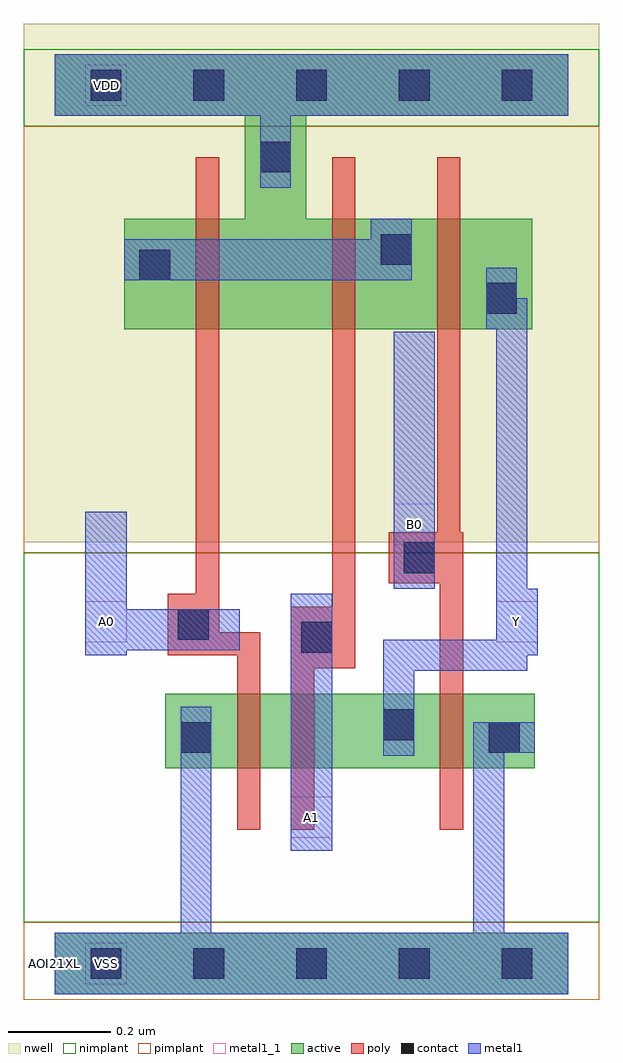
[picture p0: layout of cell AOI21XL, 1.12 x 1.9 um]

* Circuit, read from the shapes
.subckt AOI21XL A0 A1 B0 VDD VSS Y
M1 n1 A0 VSS VSS nfet w=0.145u l=0.045u
M2 Y A1 n1 VSS nfet w=0.145u l=0.045u
M3 VSS B0 Y VSS nfet w=0.145u l=0.045u
M4 VDD A0 n2 VDD pfet w=0.215u l=0.045u
M5 n2 A1 VDD VDD pfet w=0.215u l=0.045u
M6 Y B0 n2 VDD pfet w=0.215u l=0.045u
.ends

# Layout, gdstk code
import gdstk
lib = gdstk.Library(unit=1e-6, precision=5e-10)
def R(c, l, rs):  # rectangles x0, y0, x1, y1
    for r in rs: c.add(gdstk.rectangle(r[:2], r[2:], *l))
def A(c, l, x, y, w, h, nx, ny, dx, dy):  # array of equal rectangles
    R(c, l, [(x+i*dx, y+j*dy, x+i*dx+w, y+j*dy+h) for i in range(nx) for j in range(ny)])
def P(c, l, *ps):  # polygons
    for p in ps: c.add(gdstk.Polygon(p, *l))
active = (1, 0)
nwell = (2, 0)
poly = (3, 0)
nimplant = (4, 0)
pimplant = (5, 0)
contact = (6, 0)
metal1 = (7, 0)
metal1_1 = (7, 1)

aoi21xl = lib.new_cell('AOI21XL')
R(aoi21xl, active, [(0,-0.06,1,0.06), (0.215,0.38,0.935,0.525)])
P(aoi21xl, active, [(0,1.77),(1,1.77),(1,1.65),(0.49,1.65),(0.49,1.45),(0.93,1.45),(0.93,1.235),(0.135,1.235),(0.135,1.45),(0.37,1.45),(0.37,1.65),(0,1.65)])
R(aoi21xl, nwell, [(-0.06,0.82,1.06,1.83)])
P(aoi21xl, poly, [(0.275,1.57),(0.32,1.57),(0.32,0.645),(0.4,0.645),(0.4,0.26),(0.355,0.26),(0.355,0.6),(0.22,0.6),(0.22,0.72),(0.275,0.72)],
  [(0.54,1.57),(0.585,1.57),(0.585,0.575),(0.505,0.575),(0.505,0.26),(0.46,0.26),(0.46,0.695),(0.54,0.695)],
  [(0.745,1.57),(0.79,1.57),(0.79,0.84),(0.795,0.84),(0.795,0.26),(0.75,0.26),(0.75,0.74),(0.65,0.74),(0.65,0.84),(0.745,0.84)])
R(aoi21xl, nimplant, [(-0.06,0.08,1.06,0.8), (-0.06,1.63,1.06,1.78)])
R(aoi21xl, pimplant, [(-0.06,-0.07,1.06,0.08), (-0.06,0.8,1.06,1.63)])
A(aoi21xl, contact, 0.07, -0.03, 0.06, 0.06, 5, 2, 0.2, 1.71)
R(aoi21xl, contact, [(0.245,0.41,0.305,0.47), (0.845,0.41,0.905,0.47), (0.64,0.435,0.7,0.495), (0.48,0.605,0.54,0.665), (0.24,0.63,0.3,0.69), (0.68,0.76,0.74,0.82), (0.84,1.265,0.9,1.325), (0.165,1.33,0.225,1.39), (0.635,1.36,0.695,1.42), (0.4,1.54,0.46,1.6)])
R(aoi21xl, metal1, [(0.46,0.22,0.54,0.72), (0.66,0.73,0.74,1.23)])
P(aoi21xl, metal1, [(0,1.77),(1,1.77),(1,1.65),(0.46,1.65),(0.46,1.51),(0.4,1.51),(0.4,1.65),(0,1.65)],
  [(0.615,1.45),(0.695,1.45),(0.695,1.33),(0.135,1.33),(0.135,1.41),(0.615,1.41)],
  [(0.84,1.355),(0.9,1.355),(0.9,1.295),(0.92,1.295),(0.92,0.73),(0.94,0.73),(0.94,0.6),(0.92,0.6),(0.92,0.57),(0.7,0.57),(0.7,0.405),(0.64,0.405),(0.64,0.63),(0.86,0.63),(0.86,1.235),(0.84,1.235)],
  [(0.06,0.88),(0.14,0.88),(0.14,0.69),(0.36,0.69),(0.36,0.61),(0.14,0.61),(0.14,0.6),(0.06,0.6)],
  [(0.245,0.5),(0.305,0.5),(0.305,0.06),(0.815,0.06),(0.815,0.47),(0.935,0.47),(0.935,0.41),(0.875,0.41),(0.875,0.06),(1,0.06),(1,-0.06),(0,-0.06),(0,0.06),(0.245,0.06)])
R(aoi21xl, metal1_1, [(0.06,-0.04,0.14,0.04), (0.46,0.245,0.54,0.325), (0.06,0.625,0.14,0.705), (0.86,0.625,0.94,0.705), (0.66,0.815,0.74,0.895), (0.06,1.67,0.14,1.75)])
aoi21xl.add(gdstk.Label('Y', (0.9,0.665), layer=7, texttype=1))
aoi21xl.add(gdstk.Label('A0', (0.1,0.665), layer=7, texttype=1))
aoi21xl.add(gdstk.Label('A1', (0.5,0.285), layer=7, texttype=1))
aoi21xl.add(gdstk.Label('B0', (0.7,0.855), layer=7, texttype=1))
aoi21xl.add(gdstk.Label('VDD', (0.1,1.71), layer=7, texttype=1))
aoi21xl.add(gdstk.Label('VSS', (0.1,0), layer=7, texttype=1))
aoi21xl.add(gdstk.Label('AOI21XL', (0,0), layer=63, texttype=0))

lib.write_gds('AOI21XL.gds')
